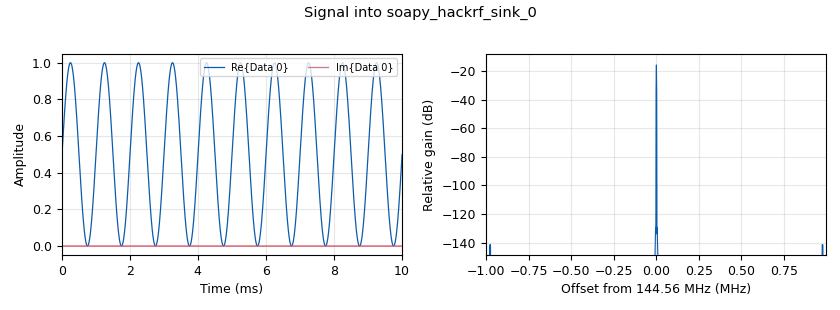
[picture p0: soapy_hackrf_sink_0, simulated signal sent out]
options:
  parameters:
    generate_options: qt_gui
    id: foxv5
    output_language: python
    title: Fox v5
  states: {}

blocks:
- name: audio_freq
  id: variable_qtgui_range
  parameters:
    label: audio_freq
    start: '500'
    step: '50'
    stop: '2000'
    value: '1000'
  states: {}
- name: audio_samp_rate
  id: variable
  parameters:
    value: '20000'
  states: {}
- name: cw_speed
  id: variable_qtgui_range
  parameters:
    label: cw_speed
    rangeType: int
    start: '25'
    step: '1'
    stop: '150'
    value: '50'
  states: {}
- name: freq
  id: variable_qtgui_range
  parameters:
    label: freq
    start: 144e6
    step: 1e3
    stop: 145e6
    value: 144560e3
  states: {}
- name: power
  id: variable_qtgui_check_box
  parameters:
    'false': '0'
    label: Power
    'true': '1'
    type: real
    value: '1'
  states: {}
- name: samp_rate
  id: variable
  parameters:
    value: 2e6
  states: {}
- name: analog_const_source_x_0
  id: analog_const_source_x
  parameters:
    const: '0'
    type: float
  states: {}
- name: analog_const_source_x_1
  id: analog_const_source_x
  parameters:
    const: complex(1, 0)
    type: complex
  states: {}
- name: analog_const_source_x_2
  id: analog_const_source_x
  parameters:
    const: complex(power,0)
    type: complex
  states: {}
- name: analog_sig_source_x_0
  id: analog_sig_source_x
  parameters:
    amp: '0.5'
    freq: audio_freq
    offset: '0.5'
    phase: '0'
    samp_rate: samp_rate
    type: float
    waveform: analog.GR_SIN_WAVE
  states: {bus_sink: true}
- name: blocks_add_xx_0
  id: blocks_add_xx
  parameters:
    type: complex
  states: {}
- name: blocks_float_to_complex_0
  id: blocks_float_to_complex
  parameters: {}
  states: {}
- name: blocks_multiply_const_vxx_0
  id: blocks_multiply_const_vxx
  parameters:
    const: complex(0.5, 0)
    type: complex
  states: {}
- name: blocks_multiply_xx_0_0
  id: blocks_multiply_xx
  parameters:
    type: complex
  states: {}
- name: blocks_multiply_xx_0_0_0
  id: blocks_multiply_xx
  parameters:
    type: complex
  states: {}
- name: blocks_repeat_0
  id: blocks_repeat
  parameters:
    interp: int(samp_rate * 6 / cw_speed)
    type: complex
  states: {}
- name: blocks_sub_xx_0
  id: blocks_sub_xx
  parameters:
    type: complex
  states: {}
- name: blocks_vector_source_x_0
  id: blocks_vector_source_x
  parameters:
    repeat: 'True'
    type: complex
    vector: (1, 1, 1, 0, 1, 1, 1, 0, 0, 0, 1, 1 ,1 ,0, 1, 1, 1, 0, 1, 1, 1, 0, 0, 0, 1, 0, 0, 0, 0, 0, 0)
  states: {}
- name: qtgui_sink_x_0
  id: qtgui_sink_x
  parameters:
    bw: samp_rate/2
    fc: freq
    fftsize: '1024'
    name: Radio
    showrf: 'True'
    type: complex
  states: {state: disabled}
- name: soapy_hackrf_sink_0
  id: soapy_hackrf_sink
  parameters:
    center_freq: freq
    dev_args: hackrd=0,buffers=1
    samp_rate: samp_rate
    type: fc32
  states: {}
- name: virtual_sink_0
  id: virtual_sink
  parameters:
    stream_id: cw_key
  states: {}
- name: virtual_sink_0_0
  id: virtual_sink
  parameters:
    stream_id: negative_cw_key
  states: {}
- name: virtual_sink_0_0_0
  id: virtual_sink
  parameters:
    stream_id: audio
  states: {}
- name: virtual_source_0
  id: virtual_source
  parameters:
    stream_id: cw_key
  states: {}
- name: virtual_source_1
  id: virtual_source
  parameters:
    stream_id: negative_cw_key
  states: {}
- name: virtual_source_2
  id: virtual_source
  parameters:
    stream_id: audio
  states: {}

connections:
- [analog_const_source_x_0, '0', blocks_float_to_complex_0, '1']
- [analog_const_source_x_1, '0', blocks_sub_xx_0, '0']
- [analog_const_source_x_2, '0', blocks_multiply_xx_0_0_0, '1']
- [analog_sig_source_x_0, '0', blocks_float_to_complex_0, '0']
- [blocks_add_xx_0, '0', blocks_multiply_xx_0_0_0, '0']
- [blocks_float_to_complex_0, '0', blocks_multiply_xx_0_0, '0']
- [blocks_multiply_const_vxx_0, '0', blocks_add_xx_0, '1']
- [blocks_multiply_xx_0_0, '0', virtual_sink_0_0_0, '0']
- [blocks_multiply_xx_0_0_0, '0', qtgui_sink_x_0, '0']
- [blocks_multiply_xx_0_0_0, '0', soapy_hackrf_sink_0, '0']
- [blocks_repeat_0, '0', blocks_sub_xx_0, '1']
- [blocks_repeat_0, '0', virtual_sink_0, '0']
- [blocks_sub_xx_0, '0', virtual_sink_0_0, '0']
- [blocks_vector_source_x_0, '0', blocks_repeat_0, '0']
- [virtual_source_0, '0', blocks_multiply_xx_0_0, '1']
- [virtual_source_1, '0', blocks_multiply_const_vxx_0, '0']
- [virtual_source_2, '0', blocks_add_xx_0, '0']

metadata:
  file_format: 1
  grc_version: 3.10.11.0
